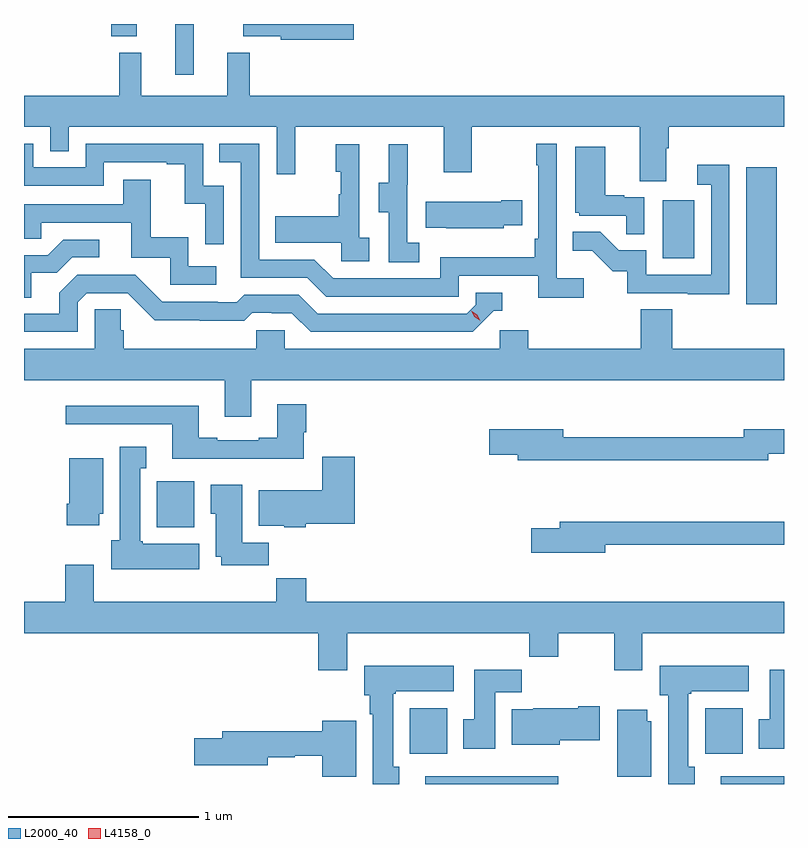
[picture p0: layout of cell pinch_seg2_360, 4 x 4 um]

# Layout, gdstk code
import gdstk
lib = gdstk.Library(unit=1e-6, precision=1e-09)
def R(c, l, rs):  # rectangles x0, y0, x1, y1
    for r in rs: c.add(gdstk.rectangle(r[:2], r[2:], *l))
def P(c, l, *ps):  # polygons
    for p in ps: c.add(gdstk.Polygon(p, *l))
L2000_40 = (2000, 40)
L4158_0 = (4158, 0)

pinch_seg2_360 = lib.new_cell('pinch_seg2_360')
R(pinch_seg2_360, L2000_40, [(989.063,629.526,989.763,629.566), (990.617,629.526,990.951,629.566), (988.982,629.684,989.179,629.926), (990.536,629.684,990.733,629.926), (987.65,630.878,987.847,631.12), (990.752,632.052,990.913,632.773), (990.314,632.292,990.478,632.599), (987.747,633.258,987.844,633.526), (987.41,633.461,987.544,633.526)])
P(pinch_seg2_360, L2000_40, [(988.687,633.526),(988.106,633.526),(988.106,633.461),(988.302,633.461),(988.302,633.442),(988.687,633.442)],
  [(990.331,632.872),(990.344,632.872),(990.344,632.984),(990.951,632.984),(990.951,633.148),(988.139,633.148),(988.139,633.376),(988.022,633.376),(988.022,633.148),(987.569,633.148),(987.569,633.376),(987.451,633.376),(987.451,633.148),(986.951,633.148),(986.951,632.984),(987.09,632.984),(987.09,632.857),(987.186,632.857),(987.186,632.984),(988.281,632.984),(988.281,632.736),(988.379,632.736),(988.379,632.984),(989.159,632.984),(989.159,632.745),(989.307,632.745),(989.307,632.984),(990.191,632.984),(990.191,632.698),(990.331,632.698)],
  [(989.896,632.188),(989.754,632.188),(989.754,632.896),(989.646,632.896),(989.646,632.783),(989.658,632.783),(989.658,632.395),(989.638,632.395),(989.638,632.299),(989.142,632.299),(989.142,632.187),(988.578,632.187),(988.479,632.286),(988.188,632.286),(988.188,632.895),(987.979,632.895),(987.979,632.799),(988.092,632.799),(988.092,632.19),(988.442,632.19),(988.541,632.091),(989.238,632.091),(989.238,632.202),(989.657,632.202),(989.657,632.086),(989.896,632.086)],
  [(988.002,632.676),(987.894,632.676),(987.894,632.895),(987.276,632.895),(987.276,632.772),(987,632.772),(987,632.895),(986.951,632.895),(986.951,632.676),(987.372,632.676),(987.372,632.799),(987.701,632.799),(987.701,632.787),(987.797,632.787),(987.797,632.579),(987.906,632.579),(987.906,632.367),(988.002,632.367)],
  [(989.032,632.375),(988.968,632.375),(988.968,632.679),(988.97,632.679),(988.97,632.893),(988.871,632.893),(988.871,632.691),(988.817,632.691),(988.817,632.536),(988.872,632.536),(988.872,632.272),(989.032,632.272)],
  [(988.768,632.402),(988.716,632.402),(988.716,632.893),(988.592,632.893),(988.592,632.748),(988.618,632.748),(988.618,632.63),(988.608,632.63),(988.608,632.515),(988.273,632.515),(988.273,632.375),(988.62,632.375),(988.62,632.277),(988.768,632.277)],
  [(990.216,632.613),(990.11,632.613),(990.11,632.626),(990.01,632.626),(990.01,632.881),(989.852,632.881),(989.852,632.532),(989.874,632.532),(989.874,632.517),(990.121,632.517),(990.121,632.419),(990.216,632.419)],
  [(990.663,632.785),(990.495,632.785),(990.495,632.679),(990.567,632.679),(990.567,632.205),(990.225,632.205),(990.225,632.334),(990.081,632.334),(989.983,632.432),(989.839,632.432),(989.839,632.333),(989.943,632.333),(990.05,632.226),(990.127,632.226),(990.127,632.109),(990.445,632.109),(990.445,632.104),(990.663,632.104)],
  [(987.964,632.25),(987.816,632.25),(987.816,632.404),(987.617,632.404),(987.617,632.707),(987.473,632.707),(987.473,632.577),(986.951,632.577),(986.951,632.397),(987.041,632.397),(987.041,632.481),(987.515,632.481),(987.515,632.295),(987.72,632.295),(987.72,632.154),(987.964,632.154)],
  [(989.475,632.468),(989.573,632.468),(989.573,632.598),(989.462,632.598),(989.462,632.59),(989.065,632.59),(989.065,632.453),(989.173,632.453),(989.173,632.45),(989.475,632.45)],
  [(986.989,632.218),(987.124,632.218),(987.204,632.298),(987.346,632.298),(987.346,632.391),(987.158,632.391),(987.077,632.31),(986.951,632.31),(986.951,632.086),(986.989,632.086)],
  [(987.234,632.061),(987.282,632.109),(987.498,632.109),(987.64,631.967),(987.876,631.967),(987.876,631.965),(988.109,631.965),(988.151,632.007),(988.254,632.007),(988.254,632.004),(988.361,632.004),(988.46,631.905),(989.313,631.905),(989.424,632.016),(989.467,632.016),(989.467,632.112),(989.328,632.112),(989.328,632.049),(989.28,632.001),(988.497,632.001),(988.398,632.1),(988.109,632.1),(988.07,632.061),(987.971,632.061),(987.971,632.064),(987.678,632.064),(987.537,632.205),(987.231,632.205),(987.137,632.111),(987.137,632.001),(986.951,632.001),(986.951,631.905),(987.234,631.905)],
  [(988.147,631.652),(990.951,631.652),(990.951,631.816),(990.362,631.816),(990.362,632.024),(990.197,632.024),(990.197,631.816),(989.606,631.816),(989.606,631.914),(989.454,631.914),(989.454,631.816),(988.323,631.816),(988.323,631.914),(988.173,631.914),(988.173,631.816),(987.476,631.816),(987.476,631.914),(987.461,631.914),(987.461,632.024),(987.324,632.024),(987.324,631.816),(986.951,631.816),(986.951,631.652),(988.007,631.652),(988.007,631.458),(988.147,631.458)],
  [(988.423,631.377),(988.436,631.377),(988.436,631.525),(988.283,631.525),(988.283,631.348),(988.187,631.348),(988.187,631.335),(987.967,631.335),(987.967,631.348),(987.871,631.348),(987.871,631.516),(987.171,631.516),(987.171,631.419),(987.731,631.419),(987.731,631.238),(988.423,631.238)],
  [(990.868,631.264),(990.951,631.264),(990.951,631.393),(990.74,631.393),(990.74,631.351),(989.788,631.351),(989.788,631.393),(989.4,631.393),(989.4,631.259),(989.549,631.259),(989.549,631.23),(990.868,631.23)],
  [(987.874,630.79),(987.576,630.79),(987.576,630.804),(987.562,630.804),(987.562,631.187),(987.595,631.187),(987.595,631.3),(987.455,631.3),(987.455,630.81),(987.41,630.81),(987.41,630.656),(987.874,630.656)],
  [(988.434,630.896),(988.691,630.896),(988.691,631.249),(988.52,631.249),(988.52,631.072),(988.187,631.072),(988.187,630.884),(988.32,630.884),(988.32,630.878),(988.434,630.878)],
  [(987.346,630.948),(987.367,630.948),(987.367,631.24),(987.188,631.24),(987.188,631),(987.176,631),(987.176,630.888),(987.346,630.888)],
  [(988.238,630.796),(988.099,630.796),(988.099,631.102),(987.935,631.102),(987.935,630.948),(987.959,630.948),(987.959,630.722),(987.989,630.722),(987.989,630.678),(988.238,630.678)],
  [(990.01,630.786),(990.951,630.786),(990.951,630.907),(989.771,630.907),(989.771,630.873),(989.622,630.873),(989.622,630.743),(990.01,630.743)],
  [(988.651,630.32),(989.611,630.32),(989.611,630.196),(989.763,630.196),(989.763,630.32),(990.058,630.32),(990.058,630.126),(990.205,630.126),(990.205,630.32),(990.951,630.32),(990.951,630.484),(988.436,630.484),(988.436,630.608),(988.279,630.608),(988.279,630.484),(987.319,630.484),(987.319,630.679),(987.167,630.679),(987.167,630.484),(986.951,630.484),(986.951,630.32),(988.499,630.32),(988.499,630.126),(988.651,630.126)],
  [(988.927,629.618),(988.894,629.618),(988.894,630.001),(988.908,630.001),(988.908,630.014),(989.212,630.014),(989.212,630.148),(988.742,630.148),(988.742,629.994),(988.772,629.994),(988.772,629.894),(988.787,629.894),(988.787,629.526),(988.927,629.526)],
  [(990.481,629.618),(990.448,629.618),(990.448,630.001),(990.462,630.001),(990.462,630.014),(990.766,630.014),(990.766,630.148),(990.296,630.148),(990.296,629.994),(990.341,629.994),(990.341,629.526),(990.481,629.526)],
  [(990.951,630.127),(990.875,630.127),(990.875,629.868),(990.818,629.868),(990.818,629.712),(990.951,629.712)],
  [(989.431,630.008),(989.57,630.008),(989.57,630.127),(989.321,630.127),(989.321,629.868),(989.264,629.868),(989.264,629.712),(989.431,629.712)],
  [(989.77,629.756),(989.98,629.756),(989.98,629.934),(989.867,629.934),(989.867,629.926),(989.631,629.926),(989.631,629.92),(989.519,629.92),(989.519,629.732),(989.77,629.732)],
  [(990.253,629.856),(990.232,629.856),(990.232,629.917),(990.074,629.917),(990.074,629.564),(990.253,629.564)],
  [(988.699,629.86),(988.52,629.86),(988.52,629.804),(987.995,629.804),(987.995,629.768),(987.846,629.768),(987.846,629.626),(988.234,629.626),(988.234,629.668),(988.377,629.668),(988.377,629.676),(988.52,629.676),(988.52,629.564),(988.699,629.564)])
P(pinch_seg2_360, L4158_0, [(989.352,631.964),(989.321,631.984),(989.305,632.016),(989.305,632.017),(989.306,632.017),(989.336,631.997),(989.352,631.964),(989.352,631.964)])

lib.write_gds('pinch_seg2_360.gds')
